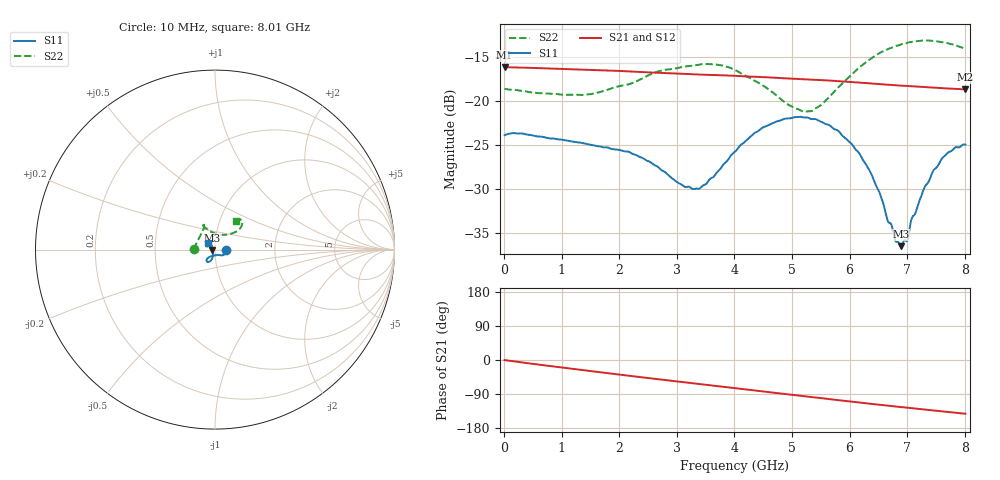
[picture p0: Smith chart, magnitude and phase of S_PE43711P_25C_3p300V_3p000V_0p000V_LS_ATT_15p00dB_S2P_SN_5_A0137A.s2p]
! Device ID: PE43711P
! File Path: z:\PE43711P\CHAR_NOM_04282014\AMB\3p300\LS_ATT_15p00dB\PE43711P_AMB_3p300V_3p000V_0p000V_LS_ATT_15p00dB_S2P_SN_5_A0137A.s2p
! Serial: 5
! Lot: A0137A
! Temp: 25C
! VDD: 3.300
! VSS: 0.000
! Control_Hi: 3.000
! Control_Lo: 0.000
! Attenuation Step: 15.00dB
! Port 1: RF1
! Port 2: RF2
! ThroughPath:1-2
! IDD: 0.0001284032
! ISS: -1.818e-007
#  Hz  S  RI  R  50
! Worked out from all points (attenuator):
!   801 points, 10 MHz to 8.01 GHz, reference 50 ohm
!   highest |S21| = -16.16 dB at 10 MHz (marker M1); lowest = -18.7 dB at 8.01 GHz (marker M2)
!   lowest |S11| = -36.5 dB at 6.89 GHz (marker M3), VSWR 1.03, Z = 48.6 - j0.389 ohm
!   |S11| at or under -10 dB: start of sweep to end of sweep
!   |S22| runs from -21.2 to -13.1 dB; largest |S21 - S12| = 0.0003
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1e7  0.0639 5.38e-05  0.1556 -0.000754  0.1557 -0.000795  -0.1174 0.000946
1.35e9  0.0505 -0.0278  0.1353 -0.0668  0.1353 -0.0669  -0.0914 0.0576
2.16e9  0.0397 -0.0328  0.1104 -0.0974  0.1105 -0.0974  -0.0691 0.1031
2.68e9  0.0281 -0.0311  0.0916 -0.1119  0.0916 -0.1119  -0.0625 0.1335
3.11e9  0.0121 -0.0306  0.0747 -0.1216  0.0747 -0.1217  -0.0617 0.1434
3.37e9  0.000502 -0.0316  0.0642 -0.126  0.0643 -0.126  -0.0627 0.1478
4.01e9  -0.0312 -0.0408  0.0375 -0.1337  0.0374 -0.1338  -0.0658 0.1348
4.34e9  -0.0428 -0.0493  0.0234 -0.1352  0.0234 -0.1354  -0.0521 0.1202
4.68e9  -0.0471 -0.0585  0.00889 -0.1353  0.00887 -0.1353  -0.0329 0.1058
5.04e9  -0.0454 -0.0668  -0.00581 -0.1336  -0.00591 -0.1335  -0.00234 0.0913
5.35e9  -0.0391 -0.0685  -0.0182 -0.1309  -0.0182 -0.131  0.0298 0.0826
5.79e9  -0.0252 -0.0632  -0.0351 -0.1249  -0.0351 -0.1248  0.0806 0.0865
6.16e9  -0.0156 -0.0482  -0.0479 -0.1179  -0.048 -0.1179  0.1177 0.0999
6.38e9  -0.012 -0.0362  -0.0548 -0.1131  -0.0549 -0.1133  0.1344 0.1118
6.68e9  -0.0121 -0.0163  -0.0631 -0.1062  -0.0631 -0.1063  0.1479 0.132
6.8e9  -0.0128 -0.00933  -0.0663 -0.1033  -0.0662 -0.1034  0.1507 0.1395
6.89e9  -0.0144 -0.00401  -0.0685 -0.1012  -0.0684 -0.1013  0.1523 0.1443
7e9  -0.0158 0.00269  -0.0712 -0.0986  -0.0712 -0.0986  0.1528 0.1499
7.09e9  -0.0202 0.00838  -0.0735 -0.0964  -0.0734 -0.0964  0.1514 0.1549
7.46e9  -0.0301 0.027  -0.0816 -0.0867  -0.0816 -0.0867  0.1401 0.1686
7.69e9  -0.0365 0.0345  -0.0859 -0.0806  -0.0859 -0.0805  0.1288 0.1705
8.01e9  -0.0408 0.039  -0.0915 -0.0719  -0.0917 -0.0717  0.1153 0.1604
